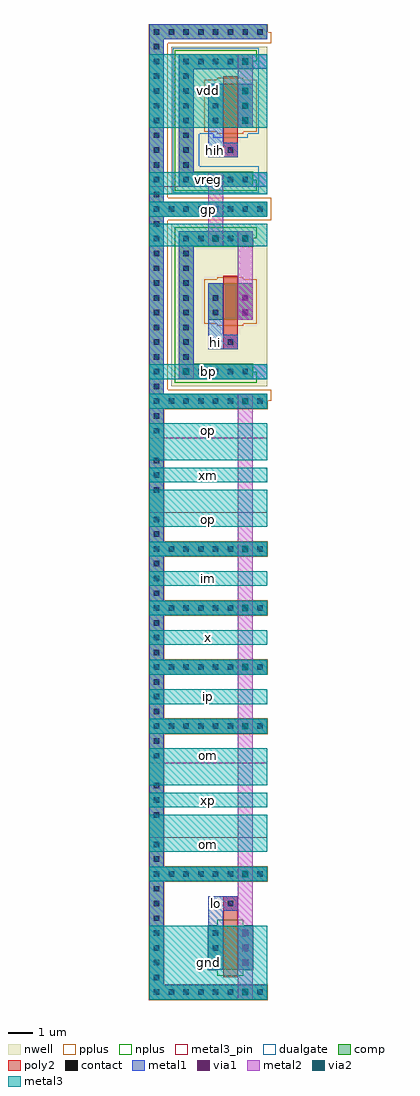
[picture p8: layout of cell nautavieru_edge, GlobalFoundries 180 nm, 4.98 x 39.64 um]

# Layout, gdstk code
import gdstk
lib = gdstk.Library(unit=1e-6, precision=1e-09)
def R(c, l, rs):  # rectangles x0, y0, x1, y1
    for r in rs: c.add(gdstk.rectangle(r[:2], r[2:], *l))
def A(c, l, x, y, w, h, nx, ny, dx, dy):  # array of equal rectangles
    R(c, l, [(x+i*dx, y+j*dy, x+i*dx+w, y+j*dy+h) for i in range(nx) for j in range(ny)])
nwell = (21, 0)
comp = (22, 0)
poly2 = (30, 0)
pplus = (31, 0)
nplus = (32, 0)
contact = (33, 0)
metal1 = (34, 0)
via1 = (35, 0)
metal2 = (36, 0)
via2 = (38, 0)
metal3 = (42, 0)
metal3_pin = (42, 10)
dualgate = (55, 0)

nautavieru_edge = lib.new_cell('nautavieru_edge')
R(nautavieru_edge, nwell, [(-36.9,18.3,-33,24.9), (-36.9,26.1,-33,32.1)])
A(nautavieru_edge, comp, -37.8, 4.2, 4.8, 0.6, 1, 4, 0, 2.4)
A(nautavieru_edge, comp, -37.8, 4.8, 0.6, 1.8, 1, 3, 0, 2.4)
R(nautavieru_edge, comp, [(-37.8,-6.6,-33,-6), (-37.8,-6,-37.2,-1.8), (-35.4,-5.4,-33.6,-3.6), (-37.8,-1.8,-33,-1.2), (-37.8,-1.2,-37.2,4.2), (-37.8,12,-37.2,17.4), (-37.8,17.4,-33,18), (-37.8,18,-37.2,25.2), (-36.6,18.6,-33.6,19.2), (-36.6,19.2,-36,24), (-35.4,21,-33.6,22.5), (-36.6,24,-33.6,24.6), (-37.8,25.2,-33,25.8), (-37.8,25.8,-37.2,32.4), (-36.6,26.4,-33.6,27), (-36.6,27,-36,31.2), (-35.4,28.8,-33.6,30.6), (-36.6,31.2,-33.6,31.8), (-37.8,32.4,-33,33)])
R(nautavieru_edge, poly2, [(-34.8,-5.7,-34.2,-2.4), (-34.8,19.8,-34.2,22.8), (-34.8,27.6,-34.2,30.9)])
A(nautavieru_edge, pplus, -37.82, 4.18, 4.84, 0.64, 1, 4, 0, 2.4)
A(nautavieru_edge, pplus, -37.82, 4.82, 0.64, 1.76, 1, 3, 0, 2.4)
R(nautavieru_edge, pplus, [(-37.82,-6.62,-32.98,-5.98), (-37.82,-5.98,-37.18,-1.82), (-37.82,-1.82,-32.98,-1.18), (-37.82,-1.18,-37.18,4.18), (-37.82,12.02,-37.18,17.38), (-37.82,17.38,-32.98,17.71), (-37.82,17.71,-32.84,18.16), (-37.82,18.16,-37.04,25.04), (-35.03,20.77,-33.97,20.84), (-35.56,20.84,-33.44,22.66), (-35.03,22.66,-33.97,22.73), (-37.82,25.04,-32.84,25.96), (-37.82,25.96,-37.04,32.24), (-35.03,28.57,-33.97,28.64), (-35.56,28.64,-33.44,30.76), (-35.03,30.76,-33.97,30.83), (-37.82,32.24,-32.84,32.69), (-37.82,32.69,-32.98,33.02)])
R(nautavieru_edge, nplus, [(-35.03,-5.63,-33.97,-5.42), (-35.42,-5.42,-33.58,-3.58), (-35.03,-3.58,-33.97,-3.37), (-36.76,18.44,-33.44,18.89), (-36.76,18.89,-33.58,19.22), (-36.76,19.22,-35.98,23.98), (-36.76,23.98,-33.58,24.31), (-36.76,24.31,-33.44,24.76), (-36.76,26.24,-33.44,26.69), (-36.76,26.69,-33.58,27.02), (-36.76,27.02,-35.98,31.18), (-36.76,31.18,-33.58,31.51), (-36.76,31.51,-33.44,31.96)])
A(nautavieru_edge, contact, -37.61, -6.41, 0.22, 0.22, 8, 2, 0.6, 4.8)
A(nautavieru_edge, contact, -37.61, -5.81, 0.22, 0.22, 1, 7, 0, 0.6)
A(nautavieru_edge, contact, -35.21, -5.21, 0.22, 0.22, 1, 3, 0, 0.6)
A(nautavieru_edge, contact, -34.01, -5.21, 0.22, 0.22, 1, 3, 0, 0.6)
A(nautavieru_edge, contact, -37.61, 0.79, 0.22, 0.22, 1, 3, 0, 0.6)
A(nautavieru_edge, contact, -37.61, 4.39, 0.22, 0.22, 8, 4, 0.6, 2.4)
A(nautavieru_edge, contact, -37.61, 4.99, 0.22, 0.22, 1, 3, 0, 0.6)
A(nautavieru_edge, contact, -37.61, 7.39, 0.22, 0.22, 1, 3, 0, 0.6)
A(nautavieru_edge, contact, -37.61, 9.79, 0.22, 0.22, 1, 3, 0, 0.6)
A(nautavieru_edge, contact, -37.61, 13.99, 0.22, 0.22, 1, 3, 0, 0.6)
A(nautavieru_edge, contact, -37.61, 17.59, 0.22, 0.22, 8, 2, 0.6, 7.8)
A(nautavieru_edge, contact, -37.61, 18.19, 0.22, 0.22, 1, 5, 0, 0.6)
A(nautavieru_edge, contact, -36.41, 18.79, 0.22, 0.22, 5, 2, 0.6, 5.4)
A(nautavieru_edge, contact, -36.41, 19.39, 0.22, 0.22, 1, 3, 0, 0.6)
A(nautavieru_edge, contact, -37.61, 21.19, 0.22, 0.22, 4, 2, 1.2, 0.6)
A(nautavieru_edge, contact, -37.61, 22.39, 0.22, 0.22, 1, 5, 0, 0.6)
A(nautavieru_edge, contact, -36.41, 22.39, 0.22, 0.22, 1, 3, 0, 0.6)
A(nautavieru_edge, contact, -37.61, 25.99, 0.22, 0.22, 1, 5, 0, 0.6)
A(nautavieru_edge, contact, -36.41, 26.59, 0.22, 0.22, 5, 2, 0.6, 4.8)
A(nautavieru_edge, contact, -36.41, 27.19, 0.22, 0.22, 1, 3, 0, 0.6)
A(nautavieru_edge, contact, -37.61, 28.99, 0.22, 0.22, 4, 3, 1.2, 0.6)
A(nautavieru_edge, contact, -37.61, 30.79, 0.22, 0.22, 1, 3, 0, 0.6)
A(nautavieru_edge, contact, -37.61, 32.59, 0.22, 0.22, 8, 1, 0.6, 0)
R(nautavieru_edge, contact, [(-34.61,-2.81,-34.39,-2.59), (-37.61,-1.01,-37.39,-0.79), (-37.61,-0.41,-37.39,-0.19), (-37.61,3.19,-37.39,3.41), (-37.61,3.79,-37.39,4.01), (-37.61,12.19,-37.39,12.41), (-37.61,12.79,-37.39,13.01), (-37.61,16.39,-37.39,16.61), (-37.61,16.99,-37.39,17.21), (-34.61,19.99,-34.39,20.21), (-34.61,27.79,-34.39,28.01), (-36.41,30.79,-36.19,31.01)])
A(nautavieru_edge, metal1, -37.8, 4.2, 4.8, 0.6, 1, 4, 0, 2.4)
A(nautavieru_edge, metal1, -37.8, 4.8, 0.6, 1.8, 1, 3, 0, 2.4)
R(nautavieru_edge, metal1, [(-37.8,-6.6,-33,-6), (-37.8,-6,-37.2,-1.8), (-35.4,-5.4,-34.8,-3), (-34.2,-5.4,-33.6,-3.6), (-35.4,-3,-34.2,-2.4), (-37.8,-1.8,-33,-1.2), (-37.8,-1.2,-37.2,4.2), (-37.8,12,-37.2,17.4), (-37.8,17.4,-33,18), (-37.8,18,-37.2,25.2), (-36.6,18.6,-33,19.2), (-36.6,19.2,-36,24), (-35.4,19.8,-34.2,20.4), (-35.4,20.4,-34.8,22.5), (-34.2,21,-33.6,22.5), (-36.6,24,-33.6,24.6), (-37.8,25.2,-33,25.8), (-37.8,25.8,-37.2,32.4), (-36.6,26.4,-33,27), (-36.6,27,-36,31.2), (-35.4,27.6,-34.2,28.2), (-35.4,28.2,-34.8,30.6), (-34.2,28.8,-33.6,30.6), (-36.6,31.2,-33,31.8), (-37.8,32.4,-33,33)])
A(nautavieru_edge, via1, -34.03, -5.23, 0.26, 0.26, 1, 3, 0, 0.6)
A(nautavieru_edge, via1, -34.03, 4.37, 0.26, 0.26, 1, 4, 0, 2.4)
A(nautavieru_edge, via1, -34.03, 28.97, 0.26, 0.26, 1, 3, 0, 0.6)
R(nautavieru_edge, via1, [(-34.03,-6.43,-33.77,-6.17), (-34.03,-1.63,-33.77,-1.37), (-34.03,17.57,-33.77,17.83), (-36.43,18.77,-36.17,19.03), (-34.03,21.17,-33.77,21.43), (-34.03,21.77,-33.77,22.03), (-34.03,31.37,-33.77,31.63)])
R(nautavieru_edge, metal2, [(-34.2,-6.6,-33.6,18), (-36.6,18.6,-36,19.2), (-34.2,21,-33.6,24.6), (-35.4,24,-34.8,27), (-34.2,28.8,-33.6,31.8)])
A(nautavieru_edge, via2, -34.03, 4.37, 0.26, 0.26, 1, 4, 0, 2.4)
A(nautavieru_edge, via2, -34.03, 28.97, 0.26, 0.26, 1, 3, 0, 0.6)
R(nautavieru_edge, via2, [(-34.03,-6.43,-33.77,-6.17), (-34.03,-1.63,-33.77,-1.37), (-34.03,17.57,-33.77,17.83), (-36.43,18.77,-36.17,19.03), (-35.23,24.17,-34.97,24.43), (-34.03,24.17,-33.77,24.43), (-35.23,26.57,-34.97,26.83), (-34.03,31.37,-33.77,31.63)])
A(nautavieru_edge, metal3, -37.8, -1.8, 4.8, 0.6, 1, 3, 0, 3)
A(nautavieru_edge, metal3, -37.8, 5.4, 4.8, 0.6, 1, 6, 0, 1.2)
R(nautavieru_edge, metal3, [(-37.8,-6.6,-33,-3.6), (-37.8,-0.6,-33,0.9), (-37.8,2.1,-33,3.6), (-37.8,12.6,-33,14.1), (-37.8,14.4,-33,15), (-37.8,15.3,-33,16.8), (-37.8,17.4,-33,18), (-37.8,18.6,-33,19.2), (-37.8,24,-33,24.9), (-37.8,25.2,-33,25.8), (-37.8,26.1,-33,27), (-37.8,28.8,-33,31.8)])
A(nautavieru_edge, metal3_pin, -37.8, -0.6, 4.8, 0.6, 1, 3, 0, 1.8)
A(nautavieru_edge, metal3_pin, -37.8, 5.4, 4.8, 0.6, 1, 4, 0, 2.4)
R(nautavieru_edge, metal3_pin, [(-37.8,-6.6,-33,-3.6), (-37.8,14.4,-33,15), (-37.8,16.2,-33,16.8), (-37.8,18.6,-33,19.2), (-37.8,25.2,-33,25.8), (-37.8,26.4,-33,27), (-37.8,28.8,-33,31.8)])
R(nautavieru_edge, dualgate, [(-36.84,26.16,-33.36,27.24), (-36.84,27.24,-35.76,28.56), (-35.2,28.4,-33.8,28.56), (-36.84,28.56,-33.36,32.04)])
nautavieru_edge.add(gdstk.Label('lo', (-35.1,-2.7), layer=34, texttype=0))
nautavieru_edge.add(gdstk.Label('hi', (-35.1,20.1), layer=34, texttype=0))
nautavieru_edge.add(gdstk.Label('hih', (-35.1,27.9), layer=34, texttype=0))
nautavieru_edge.add(gdstk.Label('vdd', (-35.4,30.3), layer=42, texttype=10))
nautavieru_edge.add(gdstk.Label('gp', (-35.4,25.5), layer=42, texttype=10))
nautavieru_edge.add(gdstk.Label('bp', (-35.4,18.9), layer=42, texttype=10))
nautavieru_edge.add(gdstk.Label('vreg', (-35.4,26.7), layer=42, texttype=10))
nautavieru_edge.add(gdstk.Label('im', (-35.4,10.5), layer=42, texttype=10))
nautavieru_edge.add(gdstk.Label('ip', (-35.4,5.7), layer=42, texttype=10))
nautavieru_edge.add(gdstk.Label('gnd', (-35.4,-5.1), layer=42, texttype=10))
nautavieru_edge.add(gdstk.Label('xm', (-35.4,14.7), layer=42, texttype=10))
nautavieru_edge.add(gdstk.Label('op', (-35.4,16.5), layer=42, texttype=10))
nautavieru_edge.add(gdstk.Label('op', (-35.4,12.9), layer=42, texttype=10))
nautavieru_edge.add(gdstk.Label('xp', (-35.4,1.5), layer=42, texttype=10))
nautavieru_edge.add(gdstk.Label('om', (-35.4,-0.3), layer=42, texttype=10))
nautavieru_edge.add(gdstk.Label('om', (-35.4,3.3), layer=42, texttype=10))
nautavieru_edge.add(gdstk.Label('x', (-35.4,8.1), layer=42, texttype=10))

lib.write_gds('nautavieru_edge.gds')
